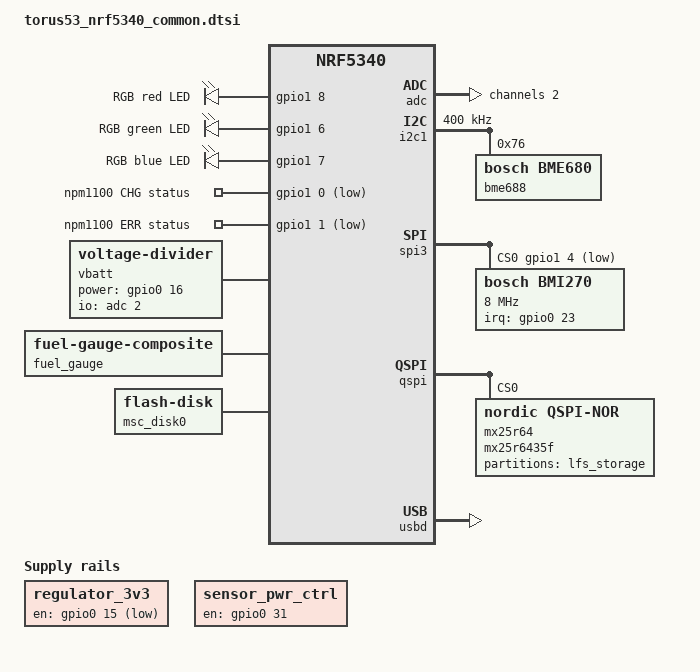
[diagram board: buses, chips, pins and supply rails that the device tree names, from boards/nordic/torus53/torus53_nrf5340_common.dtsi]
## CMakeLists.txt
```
# SPDX-License-Identifier: Apache-2.0

cmake_minimum_required(VERSION 3.20.0)
find_package(Zephyr REQUIRED HINTS $ENV{ZEPHYR_BASE})
project(BORUS)

FILE(GLOB app_sources src/*.c)
target_sources(app PRIVATE ${app_sources})

target_sources(app PRIVATE src/main.c)
target_sources(app PRIVATE 
    src/driver/bmp390.c
    src/driver/bmi270.c
    src/driver/battery.c
    src/feature/dsp_filters.c
    src/feature/gait_analysis.c
)
```

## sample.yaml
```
sample:
  name: BORUS Sensor Logger
tests:
  sample.basic.blinky:
    tags:
      - sensor
      - BLE
      - USB
      - filesystem
      - log
      - LED
      - gpio
    filter: >
      dt_nodelabel_enabled("bmi270") and
      dt_nodelabel_enabled("bme680") and 
      dt_chosen_enabled("zephyr,usbd")
    depends_on: 
      - gpio
      - spi
      - i2c
      - sensor
      - bluetooth
      - log
      - flash
      - fs
      - littlefs
      - usb_device_stack
      - msc 
    harness: console

    harness_config:
      type: multi_line
      ordered: false
      regex:
        - "Thingy Application Starting"
        - "Bluetooth enabled"
        - "File system mounted"
        - "Entering main loop"

    integration_platforms:
      - frdm_k64f
      - Thingy53
```

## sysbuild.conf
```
#
# Copyright (c) 2024 Nordic Semiconductor
#
# SPDX-License-Identifier: LicenseRef-Nordic-5-Clause
#

SB_CONFIG_NETCORE_IPC_RADIO_BT_HCI_IPC=y

SB_CONFIG_MCUBOOT_MODE_SINGLE_APP=n
SB_CONFIG_BOOTLOADER_MCUBOOT=y

SB_CONFIG_PM_EXTERNAL_FLASH_MCUBOOT_SECONDARY=y
SB_CONFIG_PM_OVERRIDE_EXTERNAL_DRIVER_CHECK=y

SB_CONFIG_SECURE_BOOT_NETCORE=y
SB_CONFIG_MCUBOOT_UPDATEABLE_IMAGES=2
SB_CONFIG_NETCORE_APP_UPDATE=y
SB_CONFIG_MCUBOOT_NRF53_MULTI_IMAGE_UPDATE=y
SB_CONFIG_MCUBOOT_MODE_OVERWRITE_ONLY=y
```

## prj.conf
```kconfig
# Enable GPIO
CONFIG_GPIO=y
# Enable I2C
CONFIG_I2C=y
# Enable SPI
CONFIG_SPI=y

# Enable log and use it via Jlink RTT rather than CDC ACM 
CONFIG_LOG=y
CONFIG_USE_SEGGER_RTT=y
CONFIG_LOG_BACKEND_RTT=y    
CONFIG_LOG_BACKEND_UART=n
CONFIG_RTT_CONSOLE=n    
CONFIG_STDOUT_CONSOLE=n 
CONFIG_SEGGER_RTT_BUFFER_SIZE_UP=4096  
CONFIG_LOG_BUFFER_SIZE=8192
CONFIG_UART_CONSOLE=n
CONFIG_CONSOLE=n

# Enable Bluetooth LE
CONFIG_BT=y
CONFIG_BT_PERIPHERAL=y
CONFIG_BT_DEVICE_NAME="BORUS"
CONFIG_BT_BROADCASTER=y
CONFIG_BT_OBSERVER=y
CONFIG_BT_FILTER_ACCEPT_LIST=y
# Extended BLE 
CONFIG_BT_EXT_ADV=y
CONFIG_BT_EXT_ADV_MAX_ADV_SET=2

# Enale floating point unit for float point calculation 
CONFIG_FPU=y
CONFIG_CBPRINTF_FP_SUPPORT=y

# Enable debugging 
CONFIG_DEBUG_THREAD_INFO=y
CONFIG_DEBUG_OPTIMIZATIONS=y

# Enable multithread
CONFIG_MULTITHREADING=y

# Enable battery voltage monitoring
CONFIG_SENSOR=y
CONFIG_PWM=n
CONFIG_ADC=y
CONFIG_VOLTAGE_DIVIDER=y
CONFIG_NRFX_SAADC=y

# Configure USB device
CONFIG_USB_DEVICE_STACK=y
CONFIG_USB_DEVICE_PRODUCT="BORUS"
CONFIG_USB_DEVICE_PID=0x0001
CONFIG_USB_DEVICE_VID=0x0001
CONFIG_USB_DRIVER_LOG_LEVEL_ERR=y
CONFIG_USB_DEVICE_LOG_LEVEL_ERR=y
CONFIG_SERIAL=n
CONFIG_USB_CDC_ACM=n
CONFIG_UART_INTERRUPT_DRIVEN=n
CONFIG_UART_LINE_CTRL=n
CONFIG_BOARD_SERIAL_BACKEND_CDC_ACM=n
CONFIG_USB_DEVICE_INITIALIZE_AT_BOOT=n

# Configure USB device to appear as DFU class
# Configure DFU autoupdate and reset
CONFIG_USB_DFU_CLASS=y
CONFIG_USB_DFU_ENABLE_UPLOAD=y
CONFIG_USB_DFU_PERMANENT_DOWNLOAD=y
CONFIG_USB_DFU_REBOOT=y
CONFIG_IMG_MANAGER=y
CONFIG_STREAM_FLASH=y

# Configure file system 
CONFIG_FLASH_MAP=y
CONFIG_FLASH=y
CONFIG_FILE_SYSTEM=y
CONFIG_FILE_SYSTEM_LITTLEFS=y
CONFIG_FLASH_PAGE_LAYOUT=y
CONFIG_MPU_ALLOW_FLASH_WRITE=y
CONFIG_NORDIC_QSPI_NOR=y
CONFIG_NORDIC_QSPI_NOR_FLASH_LAYOUT_PAGE_SIZE=4096

# Configure mass storage
CONFIG_USB_MASS_STORAGE=y
CONFIG_DISK_ACCESS=y
CONFIG_USB_MASS_STORAGE_LOG_LEVEL_ERR=y
CONFIG_DISK_LOG_LEVEL_DBG=y
CONFIG_DISK_DRIVERS=y
CONFIG_DISK_DRIVER_FLASH=y
CONFIG_MASS_STORAGE_DISK_NAME="NOR"

# Configure BLE encryption
CONFIG_NRF_SECURITY=y
CONFIG_MBEDTLS_PSA_CRYPTO_C=y
CONFIG_PSA_CRYPTO_DRIVER_CC3XX=y
CONFIG_PSA_CRYPTO_DRIVER_OBERON=n
CONFIG_PSA_WANT_KEY_TYPE_AES=y
CONFIG_PSA_WANT_ALG_CTR=y
CONFIG_HEAP_MEM_POOL_SIZE=4096
CONFIG_MBEDTLS_ENABLE_HEAP=y
CONFIG_MBEDTLS_HEAP_SIZE=8192
CONFIG_TEST_RANDOM_GENERATOR=y

# Configure Settings subsystem
CONFIG_SETTINGS=y
CONFIG_SETTINGS_RUNTIME=y
CONFIG_NVS=y
CONFIG_SETTINGS_NVS=y
CONFIG_MPU_ALLOW_FLASH_WRITE=y

# Configure Watchdog
CONFIG_WATCHDOG=y
CONFIG_WDT_DISABLE_AT_BOOT=n

# Enable State Machine Framework
CONFIG_SMF=y

# Enable DSP
CONFIG_CMSIS_DSP=y
CONFIG_CMSIS_DSP_FILTERING=y
CONFIG_CMSIS_DSP_TRANSFORM=y
CONFIG_CMSIS_DSP_STATISTICS=y
CONFIG_CMSIS_DSP_FASTMATH=y
CONFIG_REQUIRES_FULL_LIBC=y
CONFIG_RING_BUFFER=y

# Power management
CONFIG_PM_DEVICE=y
CONFIG_RAM_POWER_DOWN_LIBRARY=y
CONFIG_POWEROFF=y

# ------------------- Turn below ON for Optimisation -------------------
# Stack sizes (This needs to be optimised using the thread analyzer below)
# CONFIG_MAIN_STACK_SIZE=1024
# CONFIG_ISR_STACK_SIZE=1536
# CONFIG_IDLE_STACK_SIZE=256
CONFIG_SYSTEM_WORKQUEUE_STACK_SIZE=2048

# Thread analyser for debug purposes
# CONFIG_THREAD_ANALYZER=y
# CONFIG_THREAD_ANALYZER_USE_LOG=y
# CONFIG_THREAD_ANALYZER_AUTO=y
# CONFIG_THREAD_ANALYZER_AUTO_INTERVAL=10
# CONFIG_THREAD_NAME=y
# ----------------------------------------------------------------------
```

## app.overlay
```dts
&spi3{
    bmi270: spi-dev-bmi270@1 {
		compatible = "bosch,bmi270";
		status = "okay";
		spi-max-frequency = <8000000>;
		reg = <1>;
		irq-gpios=<&gpio0 23 GPIO_ACTIVE_HIGH>; 
	};

	adxl362: spi-dev-adxl362@0 {
		compatible = "adi,adxl362";
		status = "disabled"; 
		spi-max-frequency = <8000000>;
		reg = <0>;
		int1-gpios = <&gpio0 19 0>;
	};
};

&mx25r64 {
	partitions {
		compatible = "fixed-partitions";

		#address-cells = <1>;
		#size-cells = <1>;

		littlefs_storage: partition@120000 {
			label = "lfs_storage";
			reg = <0x00120000 0x006E0000>; 
		};
	};
};

/ {
	msc_disk0: msc_disk0 {
		compatible = "zephyr,flash-disk";
		partition = <&littlefs_storage>;
		disk-name = "NOR";
		cache-size = <4096>; 
	};
};
```

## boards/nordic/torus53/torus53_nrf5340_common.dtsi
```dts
/*
 * Copyright (c) 2021 Nordic Semiconductor ASA
 *
 * SPDX-License-Identifier: Apache-2.0
 */
#include "torus53_nrf5340_common-pinctrl.dtsi"
#include <zephyr/dt-bindings/input/input-event-codes.h>
#include <zephyr/dt-bindings/battery/battery.h>

/ {
	chosen {
		zephyr,bt-hci-ipc = &ipc0;
		zephyr,bt-hci = &bt_hci_ipc0;
		nordic,pm-ext-flash = &mx25r64;
	};

	leds {
		compatible = "gpio-leds";
		red_led: led_1 {
			gpios = <&gpio1 8 GPIO_ACTIVE_HIGH>;
			label = "RGB red LED";
		};
		green_led: led_2 {
			gpios = <&gpio1 6 GPIO_ACTIVE_HIGH>;
			label = "RGB green LED";
		};
		blue_led: led_3 {
			gpios = <&gpio1 7 GPIO_ACTIVE_HIGH>;
			label = "RGB blue LED";
		};
	};

	npm1100_status: npm1100_status {
		compatible = "gpio-keys"; 
		label = "npm1100 status lines";

		chg_pin: chg_pin {
			gpios = <&gpio1 0 (GPIO_ACTIVE_LOW | GPIO_PULL_UP)>; 
			label = "npm1100 CHG status";
		};

		err_pin: err_pin {
			gpios = <&gpio1 1 (GPIO_ACTIVE_LOW | GPIO_PULL_UP)>;
			label = "npm1100 ERR status"; 
		};
	};

	npm1100_force_pwm_mode: npm1100_force_pwm_mode {
		compatible = "regulator-fixed";
		regulator-name = "npm1100_force_pwm_mode";
		enable-gpios = <&gpio0 8 GPIO_ACTIVE_HIGH>;
		status = "disabled";
		regulator-boot-on;
	};

	vbatt: vbatt {
		compatible = "voltage-divider";
		io-channels = <&adc 2>;
		output-ohms = <180000>;
		full-ohms = <(1500000 + 180000)>;
		power-gpios = <&gpio0 16 0>;
	};

	fuel_gauge: fuel_gauge {
		compatible = "zephyr,fuel-gauge-composite";
		battery-voltage = <&vbatt>;
		device-chemistry = "lithium-ion-polymer";
		ocv-capacity-table-0 = <BATTERY_OCV_CURVE_LITHIUM_ION_POLYMER_DEFAULT>;
		charge-full-design-microamp-hours = <1350000>;
	};

	regulator_3v3: regulator-3v3-ctrl {
		compatible = "regulator-fixed";
		regulator-name = "ncp114";
		enable-gpios = <&gpio0 15 GPIO_ACTIVE_LOW>;
		regulator-boot-on;
	};

	sensor_pwr_ctrl: sensor-pwr-ctrl {
		compatible = "regulator-fixed";
		regulator-name = "tck106ag";
		enable-gpios = <&gpio0 31 GPIO_ACTIVE_HIGH>;
		regulator-boot-on;
	};

	aliases {
		led0 = &red_led;
		led1 = &green_led;
		led2 = &blue_led;
		watchdog0 = &wdt0;
		npm1100chg = &chg_pin;
		npm1100err = &err_pin; 
	};

	msc_disk0: msc_disk0 {
		compatible = "zephyr,flash-disk";
		partition = <&littlefs_storage>;
		disk-name = "NOR";
		cache-size = <4096>; 
	};
};

&adc {
	#address-cells = <1>;
	#size-cells = <0>;
	status = "okay";

	channel@2 {
		reg = <2>;
		zephyr,gain = "ADC_GAIN_1";
		zephyr,reference = "ADC_REF_INTERNAL";
		zephyr,vref-mv = <600>;
		zephyr,acquisition-time = <ADC_ACQ_TIME_DEFAULT>;
		zephyr,resolution = <12>;
		zephyr,input-positive = <NRF_SAADC_AIN2>;
	};
};

&gpiote {
	status = "okay";
};

&gpio0 {
	status = "okay";
};

&gpio1 {
	status = "okay";
};

&i2c1 {
	compatible = "nordic,nrf-twim";
	status = "okay";
	clock-frequency = <I2C_BITRATE_FAST>;

	pinctrl-0 = <&i2c1_default>;
	pinctrl-1 = <&i2c1_sleep>;
	pinctrl-names = "default", "sleep";

	bme688: bme688@76 {
		compatible = "bosch,bme680";
		reg = <0x76>;
	};
};

&spi3 {
	compatible = "nordic,nrf-spim";
	status = "okay";
	cs-gpios = <&gpio1 4  GPIO_ACTIVE_LOW>;

	pinctrl-0 = <&spi3_default>;
	pinctrl-1 = <&spi3_sleep>;
	pinctrl-names = "default", "sleep";

	bmi270: spi-dev-bmi270@0 {
		compatible = "bosch,bmi270";
		status = "okay";
		spi-max-frequency = <8000000>;
		reg = <0>;
		irq-gpios=<&gpio0 23 GPIO_ACTIVE_HIGH>; 
	};
};

&qspi {
	status = "okay";
	pinctrl-0 = <&qspi_default>;
	pinctrl-1 = <&qspi_sleep>;
	pinctrl-names = "default", "sleep";
	mx25r64: mx25r6435f@0 {
		compatible = "nordic,qspi-nor";
		reg = <0>;
		/* MX25R64 supports only pp and pp4io */
		/* Torus:53 supports only pp and pp2o options */
		writeoc = "pp";
		/* MX25R64 supports all readoc options */
		/* Torus:53 supports only fastread and read2io options */
		readoc = "read2io";
		sck-frequency = <8000000>;
		jedec-id = [c2 28 17];
		sfdp-bfp = [
			e5 20 f1 ff  ff ff ff 03  44 eb 08 6b  08 3b 04 bb
			ee ff ff ff  ff ff 00 ff  ff ff 00 ff  0c 20 0f 52
			10 d8 00 ff  23 72 f5 00  82 ed 04 cc  44 83 68 44
			30 b0 30 b0  f7 c4 d5 5c  00 be 29 ff  f0 d0 ff ff
		];
		size = <67108864>;
		has-dpd;
		t-enter-dpd = <10000>;
		t-exit-dpd = <35000>;

		/* Below partition is dedicated for littlefs data logging */
		/* Use this partition together with partition manager pm_static.yml for partition definition */
		partitions {
			compatible = "fixed-partitions";

			#address-cells = <1>;
			#size-cells = <1>;

			littlefs_storage: partition@120000 {
				label = "lfs_storage";
				reg = <0x00120000 0x006E0000>; 
			};
		};
	};
};

&uart0 {
	/* Disabled by default */
	current-speed = <115200>;
	status = "disabled";
	pinctrl-0 = <&uart0_default>;
	pinctrl-1 = <&uart0_sleep>;
	pinctrl-names = "default", "sleep";
};

zephyr_udc0: &usbd {
	compatible = "nordic,nrf-usbd";
	status = "okay";
};

/* Include default memory partition configuration file */
#include <common/nordic/nrf5340_cpuapp_partition.dtsi>
```

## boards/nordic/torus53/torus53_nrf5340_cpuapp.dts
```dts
/*
 * Copyright (c) 2021 Nordic Semiconductor ASA
 *
 * SPDX-License-Identifier: Apache-2.0
 */

/dts-v1/;
#include <nordic/nrf5340_cpuapp_qkaa.dtsi>
#include "torus53_nrf5340_common.dtsi"

/ {
	model = "Nordic Torus53 NRF5340 Application";
	compatible = "nordic,torus53-nrf5340-cpuapp";

	chosen {
		zephyr,sram = &sram0_image;
		zephyr,flash = &flash0;
		zephyr,code-partition = &slot0_partition;
		zephyr,sram-secure-partition = &sram0_s;
		zephyr,sram-non-secure-partition = &sram0_ns;
	};

	aliases {
		watchdog0 = &wdt0;
	};
};

&vregmain {
	regulator-initial-mode = <NRF5X_REG_MODE_DCDC>;
};

&vregradio {
	regulator-initial-mode = <NRF5X_REG_MODE_DCDC>;
};

&vregh {
	status = "okay";
};

&lfxo {
	load-capacitors = "internal";
	load-capacitance-picofarad = <7>;
};
```

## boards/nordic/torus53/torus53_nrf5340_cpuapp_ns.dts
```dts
/*
 * Copyright (c) 2021 Nordic Semiconductor ASA
 *
 * SPDX-License-Identifier: Apache-2.0
 */

/dts-v1/;
#include <nordic/nrf5340_cpuappns_qkaa.dtsi>
#include "torus53_nrf5340_common.dtsi"
#include <../boards/common/usb/cdc_acm_serial.dtsi>

/ {
	model = "Nordic Torus53 NRF5340 Application";
	compatible = "nordic,torus53-nrf5340-cpuapp";

	chosen {
		zephyr,sram = &sram0_ns_app;
		zephyr,flash = &flash0;
		zephyr,code-partition = &slot0_ns_partition;
	};

	aliases {
		watchdog0 = &wdt0;
	};
};

&vregmain {
	regulator-initial-mode = <NRF5X_REG_MODE_DCDC>;
};

&vregradio {
	regulator-initial-mode = <NRF5X_REG_MODE_DCDC>;
};

&vregh {
	status = "okay";
};

&lfxo {
	load-capacitors = "internal";
	load-capacitance-picofarad = <7>;
};
```

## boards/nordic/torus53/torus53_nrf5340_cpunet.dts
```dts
/*
 * Copyright (c) 2021 Nordic Semiconductor ASA
 *
 * SPDX-License-Identifier: Apache-2.0
 */

/dts-v1/;
#include <nordic/nrf5340_cpunet_qkaa.dtsi>
#include "torus53_nrf5340_cpunet-pinctrl.dtsi"
#include <zephyr/dt-bindings/input/input-event-codes.h>

/ {
	model = "Nordic Torus53 NRF5340 Network";
	compatible = "nordic,torus53-nrf5340-cpunet";

	chosen {
		zephyr,bt-hci-ipc = &ipc0;
		zephyr,sram = &sram1;
		zephyr,flash = &flash1;
		zephyr,code-partition = &slot0_partition;
	};

	leds {
		compatible = "gpio-leds";
		red_led: led_1 {
			gpios = <&gpio1 8 (GPIO_PULL_DOWN | GPIO_ACTIVE_HIGH)>;
			label = "RGB red LED";
		};
		green_led: led_2 {
			gpios = <&gpio1 6 (GPIO_PULL_DOWN | GPIO_ACTIVE_HIGH)>;
			label = "RGB green LED";
		};
		blue_led: led_3 {
			gpios = <&gpio1 7 (GPIO_PULL_DOWN | GPIO_ACTIVE_HIGH)>;
			label = "RGB blue LED";
		};
	};

	aliases {
		led0 = &red_led;
		led1 = &green_led;
		led2 = &blue_led;
		watchdog0 = &wdt;
	};
};

&gpiote {
	status = "okay";
};

&gpio0 {
	status = "okay";
};

&gpio1 {
	status = "okay";
};

&uart0 {
	compatible = "nordic,nrf-uarte";
	status = "disabled";
	current-speed = <115200>;
	pinctrl-0 = <&uart0_default>;
	pinctrl-1 = <&uart0_sleep>;
	pinctrl-names = "default", "sleep";
};

&flash1 {
	partitions {
		compatible = "fixed-partitions";
		#address-cells = <1>;
		#size-cells = <1>;

		boot_partition: partition@0 {
			label = "mcuboot";
			reg = <0x00000000 0xc000>;
		};
		slot0_partition: partition@c000 {
			label = "image-0";
			reg = <0x0000C000 0x12000>;
		};
		slot1_partition: partition@1e000 {
			label = "image-1";
			reg = <0x0001E000 0x12000>;
		};
		scratch_partition: partition@30000 {
			label = "image-scratch";
			reg = <0x00030000 0xa000>;
		};
		storage_partition: partition@3a000 {
			label = "storage";
			reg = <0x0003a000 0x6000>;
		};
	};
};

/* Include default shared RAM configuration file */
#include <common/nordic/nrf5340_shared_sram_partition.dtsi>
```

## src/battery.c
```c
/*
 * Copyright (c) 2018-2019 Peter Bigot Consulting, LLC
 * Copyright (c) 2019-2020 Nordic Semiconductor ASA
 *
 * SPDX-License-Identifier: Apache-2.0
 */

#include <math.h>
#include <stdio.h>
#include <stdlib.h>

#include <zephyr/kernel.h>
#include <zephyr/init.h>
#include <zephyr/drivers/gpio.h>
#include <zephyr/drivers/adc.h>
#include <zephyr/drivers/sensor.h>
#include <zephyr/logging/log.h>

#include "battery.h"

// LOG_MODULE_REGISTER(BATTERY, CONFIG_ADC_LOG_LEVEL);

#define VBATT DT_PATH(vbatt)
#define ZEPHYR_USER DT_PATH(zephyr_user)

#ifdef CONFIG_BOARD_THINGY52_NRF52832
/* This board uses a divider that reduces max voltage to
 * reference voltage (600 mV).
 */
#define BATTERY_ADC_GAIN ADC_GAIN_1
#else
/* Other boards may use dividers that only reduce battery voltage to
 * the maximum supported by the hardware (3.6 V)
 */
#define BATTERY_ADC_GAIN ADC_GAIN_1_6
#endif

struct io_channel_config {
	uint8_t channel;
};

struct divider_config {
	struct io_channel_config io_channel;
	struct gpio_dt_spec power_gpios;
	/* output_ohm is used as a flag value: if it is nonzero then
	 * the battery is measured through a voltage divider;
	 * otherwise it is assumed to be directly connected to Vdd.
	 */
	uint32_t output_ohm;
	uint32_t full_ohm;
};

static const struct divider_config divider_config = {
#if DT_NODE_HAS_STATUS(VBATT, okay)
	.io_channel = {
		DT_IO_CHANNELS_INPUT(VBATT),
	},
	.power_gpios = GPIO_DT_SPEC_GET_OR(VBATT, power_gpios, {}),
	.output_ohm = DT_PROP(VBATT, output_ohms),
	.full_ohm = DT_PROP(VBATT, full_ohms),
#else /* /vbatt exists */
	.io_channel = {
		DT_IO_CHANNELS_INPUT(ZEPHYR_USER),
	},
#endif /* /vbatt exists */
};

struct divider_data {
	const struct device *adc;
	struct adc_channel_cfg adc_cfg;
	struct adc_sequence adc_seq;
	int16_t raw;
};
static struct divider_data divider_data = {
#if DT_NODE_HAS_STATUS(VBATT, okay)
	.adc = DEVICE_DT_GET(DT_IO_CHANNELS_CTLR(VBATT)),
#else
	.adc = DEVICE_DT_GET(DT_IO_CHANNELS_CTLR(ZEPHYR_USER)),
#endif
};

static int divider_setup(void)
{
	const struct divider_config *cfg = &divider_config;
	const struct io_channel_config *iocp = &cfg->io_channel;
	const struct gpio_dt_spec *gcp = &cfg->power_gpios;
	struct divider_data *ddp = &divider_data;
	struct adc_sequence *asp = &ddp->adc_seq;
	struct adc_channel_cfg *accp = &ddp->adc_cfg;
	int rc;

	if (!device_is_ready(ddp->adc)) {
		// LOG_ERR("ADC device is not ready %s", ddp->adc->name);
		return -ENOENT;
	}

	if (gcp->port) {
		if (!device_is_ready(gcp->port)) {
			// LOG_ERR("%s: device not ready", gcp->port->name);
			return -ENOENT;
		}
		rc = gpio_pin_configure_dt(gcp, GPIO_OUTPUT_INACTIVE);
		if (rc != 0) {
			// LOG_ERR("Failed to control feed %s.%u: %d",
			// 	gcp->port->name, gcp->pin, rc);
			return rc;
		}
	}

	*asp = (struct adc_sequence){
		.channels = BIT(0),
		.buffer = &ddp->raw,
		.buffer_size = sizeof(ddp->raw),
		.oversampling = 4,
		.calibrate = true,
	};

#ifdef CONFIG_ADC_NRFX_SAADC
	*accp = (struct adc_channel_cfg){
		.gain = BATTERY_ADC_GAIN,
		.reference = ADC_REF_INTERNAL,
		.acquisition_time = ADC_ACQ_TIME(ADC_ACQ_TIME_MICROSECONDS, 40),
	};

	if (cfg->output_ohm != 0) {
		accp->input_positive = SAADC_CH_PSELP_PSELP_AnalogInput0
			+ iocp->channel;
	} else {
		accp->input_positive = SAADC_CH_PSELP_PSELP_VDD;
	}

	asp->resolution = 14;
#else /* CONFIG_ADC_var */
#error Unsupported ADC
#endif /* CONFIG_ADC_var */

	rc = adc_channel_setup(ddp->adc, accp);
	// LOG_INF("Setup AIN%u got %d", iocp->channel, rc);

	return rc;
}

static bool battery_ok;

static int battery_setup(void)
{
	int rc = divider_setup();

	battery_ok = (rc == 0);
	// LOG_INF("Battery setup: %d %d", rc, battery_ok);
	return rc;
}

SYS_INIT(battery_setup, APPLICATION, CONFIG_APPLICATION_INIT_PRIORITY);

int battery_measure_enable(bool enable)
{
	int rc = -ENOENT;

	if (battery_ok) {
		const struct gpio_dt_spec *gcp = &divider_config.power_gpios;

		rc = 0;
		if (gcp->port) {
			rc = gpio_pin_set_dt(gcp, enable);
		}
	}
	return rc;
}

int battery_sample(void)
{
	int rc = -ENOENT;

	if (battery_ok) {
		struct divider_data *ddp = &divider_data;
		const struct divider_config *dcp = &divider_config;
		struct adc_sequence *sp = &ddp->adc_seq;

		rc = adc_read(ddp->adc, sp);
		sp->calibrate = false;
		if (rc == 0) {
			int32_t val = ddp->raw;

			adc_raw_to_millivolts(adc_ref_internal(ddp->adc),
					      ddp->adc_cfg.gain,
					      sp->resolution,
					      &val);

			if (dcp->output_ohm != 0) {
				rc = val * (uint64_t)dcp->full_ohm
					/ dcp->output_ohm;
				// LOG_INF("raw %u ~ %u mV => %d mV\n",
				// 	ddp->raw, val, rc);
			} else {
				rc = val;
				// LOG_INF("raw %u ~ %u mV\n", ddp->raw, val);
			}
		}
	}

	return rc;
}

unsigned int battery_level_pptt(unsigned int batt_mV,
				const struct battery_level_point *curve)
{
	const struct battery_level_point *pb = curve;

	if (batt_mV >= pb->lvl_mV) {
		/* Measured voltage above highest point, cap at maximum. */
		return pb->lvl_pptt;
	}
	/* Go down to the last point at or below the measured voltage. */
	while ((pb->lvl_pptt > 0)
	       && (batt_mV < pb->lvl_mV)) {
		++pb;
	}
	if (batt_mV < pb->lvl_mV) {
		/* Below lowest point, cap at minimum */
		return pb->lvl_pptt;
	}

	/* Linear interpolation between below and above points. */
	const struct battery_level_point *pa = pb - 1;

	return pb->lvl_pptt
	       + ((pa->lvl_pptt - pb->lvl_pptt)
		  * (batt_mV - pb->lvl_mV)
		  / (pa->lvl_mV - pb->lvl_mV));
}
```
